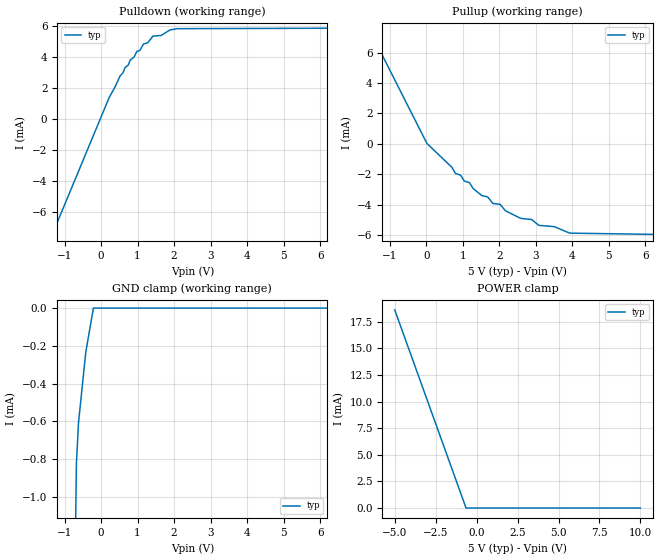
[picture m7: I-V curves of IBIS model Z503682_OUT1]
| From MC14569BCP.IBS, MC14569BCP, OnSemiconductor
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| (C) COPYRIGHT 1993-2000
| MENTOR GRAPHICS CORPORATION
| ICX STANDARD LIBRARY, ICX PROJECT MODELING,
| ICX CUSTOM MODELING, ICX VENDOR MODEL
| ALL RIGHTS RESERVED.
| THE FOLLOWING ARE TRADEMARKS OR SERVICE MARKS OF
| MENTOR GRAPHICS CORPORATION:ICX (R), ICX STANDARD
| LIBRARY(R), ICX PROJECT MODELING(R), ICX CUSTOM
| MODELING(R), qualityIBIS(TM), MODELVIEWER(TM),
| AND MODELEDITOR(TM)
| ALL COPIES OF SOFTWARE, INCLUDING BUT NOT LIMITED TO
| ANY MODIFICATIONS, ENHANCEMENTS OR DERIVATIVE WORKS,
| MUST CONTAIN ALL MENTOR GRAPHICS CORPORATION'S
| NOTICES AND LEGENDS, INCLUDING THOSE EMBEDDED IN
| SOFTWARE AND THOSE AFFIXED TO SOFTWARE MEDIUM
| AND CONTAINER, AS RECEIVED FROM MENTOR GRAPHICS
| CORPORATION.
| Model Application Version 1.89 2/18/99.
[Model] Z503682_OUT1
Model_type Output
Vref=0.000V
Rref=500.0Mohms
Cref=50.00pF
Vmeas=2.500V
C_comp 8.000pF NA NA
| variable typ   min   max
[Voltage Range] 5.000V NA NA
[POWER Clamp Reference] 5.000V NA NA
[Pullup Reference] 5.000V NA NA
[Pulldown Reference] 0.000V NA NA
[GND Clamp Reference] 0.000V NA NA
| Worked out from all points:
|   slope of the pulldown table from 0 to 0.75 V, typ, clamps not added: 222 ohm
|   slope of the pullup table from 0 to 0.75 V, typ, clamps not added: 405 ohm
[GND Clamp]
-5V       -64.71mA   NA         NA
-673.6mV  -822.4uA   NA         NA
-616mV    -606.4uA   NA         NA
-416.8mV  -233.2uA   NA         NA
-208.4mV  0A         NA         NA
10V       0A         NA         NA
[Pulldown]
-5V       -28.09mA   NA         NA
221.3mV   1.366mA    NA         NA
519.1mV   2.75mA     NA         NA
801.4mV   3.79mA     NA         NA
899.8mV   3.96mA     NA         NA
982.9mV   4.339mA    NA         NA
1.062V    4.4mA      NA         NA
1.164V    4.815mA    NA         NA
1.282V    4.896mA    NA         NA
1.424V    5.325mA    NA         NA
2.085V    5.799mA    NA         NA
10V       5.854mA    NA         NA
[Pullup]
-5V       23.82mA    NA         NA
16mV      29.74uA    NA         NA
798mV     -1.946mA   NA         NA
1.821V    -3.912mA   NA         NA
2.021V    -3.974mA   NA         NA
2.164V    -4.391mA   NA         NA
2.585V    -4.899mA   NA         NA
2.884V    -4.969mA   NA         NA
3.085V    -5.358mA   NA         NA
3.506V    -5.439mA   NA         NA
3.927V    -5.866mA   NA         NA
10V       -6.081mA   NA         NA
[POWER Clamp]
-5V       18.61mA    NA         NA
-648mV    0A         NA         NA
10V       0A         NA         NA
[Ramp]
| variable typ min max
dV/dt_r 1.471/19.35n NA NA
dV/dt_f 1.471/22.80n NA NA
R_load = 500.0Ohms
